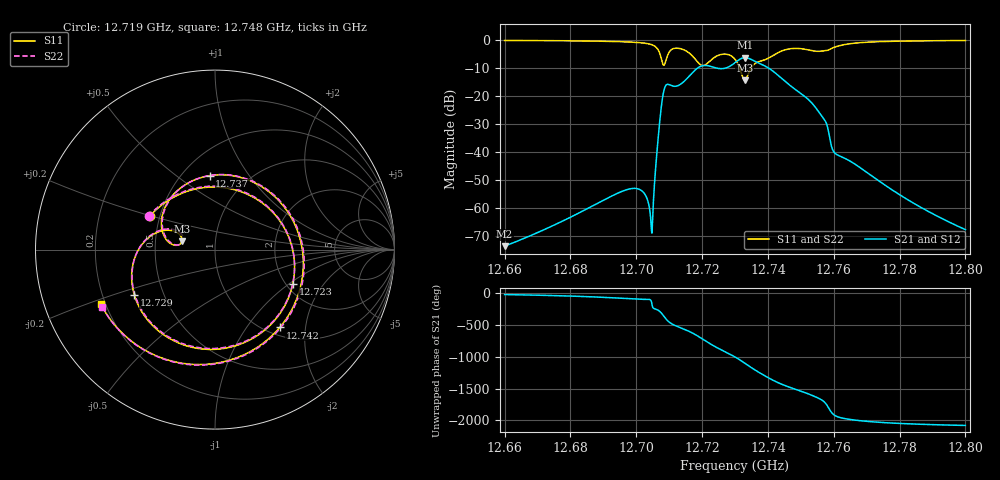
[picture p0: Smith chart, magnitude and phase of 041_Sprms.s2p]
! TOUCHSTONE file generated by CST MICROWAVE STUDIO
! Date and time: Wed Jul 31 12:44:16 2024
! Project name: WaveGuide_BPF-Ver4.1_U-shape_Ku_T3_C4_CWA_2.cst
! Parameters = {cavity_h=16; cavity_l0=10; cavity_l1=15.1894; cavity_l2=16.8212; cavity_l3=17.0951; cavity_l4=17.2732; cavity_l5=17.1581; cavity_l6=17.5628; cavity_r=2.5; cavity_screw_l=0.5; cavity_screw_r=1.5; cavity_w=8; iris_h00=0; iris_h01=8.8262; iris_h112=0; iris_h12=5.6036; iris_h211=3.6673; 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
! Header version: 2018
! Port assignment regex: !\s*Touchstone port\s*([0-9]+)\s*=\s*(CST MWS port|CST DS port)\s*([0-9]+|Zmin|Zmax)\s*\(\"(.*)\"\)(\s*mode\s*([0-9]+))?.*
! Touchstone port assignment:
! Touchstone port 1 = CST MWS port 1 ("")
! Touchstone port 2 = CST MWS port 2 ("")
# GHz S RI R 50
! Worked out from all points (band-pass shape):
!   5001 points, 12.66 GHz to 12.8 GHz, reference 50 ohm
!   highest |S21| = -6.31 dB at 12.733 GHz (marker M1); lowest = -73.8 dB at 12.66 GHz (marker M2)
!   |S21| within 3 dB of the highest: 12.71981 GHz to 12.7222 GHz (2.387 MHz wide, 0.0188 % of centre); 12.72856 GHz to 12.73909 GHz (10.54 MHz wide, 0.0827 % of centre)
!   lowest |S11| = -14.4 dB at 12.733 GHz (marker M3), VSWR 1.47, Z = 34.3 + j3.26 ohm
!   |S11| at or under -10 dB: 12.73139 GHz to 12.7349 GHz (3.508 MHz wide, 0.0276 % of centre)
!   |S22| runs from -14.7 to -0.2 dB; largest |S21 - S12| = 1e-09
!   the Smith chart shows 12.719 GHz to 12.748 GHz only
!   S11 on the Smith chart (normalised r, x): 12.719 GHz: 0.44, +0.20; 12.723 GHz: 2.17, -1.07; 12.729 GHz: 0.34, -0.24; 12.737 GHz: 0.67, +0.67; 12.742 GHz: 1.14, -1.45; 12.748 GHz: 0.18, -0.22
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12.66  0.3095 0.9318  0.000189 -7.62e-05  0.000189 -7.62e-05  0.3035 0.9339
12.68335  0.7026 0.6586  0.000526 -0.000663  0.000526 -0.000663  0.6978 0.6637
12.69973  0.907 -0.0518  -0.000123 -0.0022  -0.000123 -0.0022  0.9075 -0.0451
12.70452  0.6996 -0.4496  -0.000247 -0.000423  -0.000247 -0.000423  0.7035 -0.4448
12.70668  0.3745 -0.5462  -9.9e-05 0.0182  -9.9e-05 0.0182  0.3806 -0.5462
12.70897  0.3729 -0.2038  0.1139 -0.1035  0.1139 -0.1035  0.3689 -0.2027
12.7139  -0.0352 -0.686  -0.165 0.0358  -0.165 0.0358  -0.0351 -0.6864
12.7186  -0.3596 0.1897  0.2075 0.2361  0.2075 0.2361  -0.3704 0.1845
12.72342  0.4337 -0.1906  -0.0807 -0.3162  -0.0807 -0.3162  0.4367 -0.17
12.72614  0.00139 -0.5556  -0.3074 -0.00592  -0.3074 -0.00592  0.00924 -0.5501
12.72894  -0.4488 -0.2551  -0.1094 0.3362  -0.1094 0.3362  -0.4474 -0.2481
12.73  -0.4497 -0.0539  0.0824 0.3832  0.0824 0.3832  -0.4461 -0.0445
12.73297  -0.1848 0.0458  0.4505 -0.1764  0.4505 -0.1764  -0.1769 0.0481
12.73302  -0.1858 0.0426  0.444 -0.1921  0.444 -0.1921  -0.1781 0.0448
12.73742  -0.0295 0.4121  -0.3747 -0.0726  -0.3747 -0.0726  -0.0204 0.4145
12.74235  0.361 -0.4335  0.158 0.1989  0.158 0.1989  0.37 -0.4303
12.74761  -0.6362 -0.3039  0.0767 -0.1173  0.0767 -0.1173  -0.6294 -0.3186
12.75335  -0.0788 0.6405  -0.0718 -0.0199  -0.0718 -0.0199  -0.0938 0.6387
12.75738  0.6443 0.00996  0.0077 0.035  0.0077 0.035  0.6427 0.0214
12.76284  0.126 -0.8085  -0.00764 -0.00201  -0.00764 -0.00201  0.1336 -0.8067
12.77668  -0.8468 -0.4197  -0.00122 0.00193  -0.00122 0.00193  -0.8447 -0.4239
12.8  -0.9569 0.204  5.78e-05 0.0004  5.78e-05 0.0004  -0.9578 0.2002
